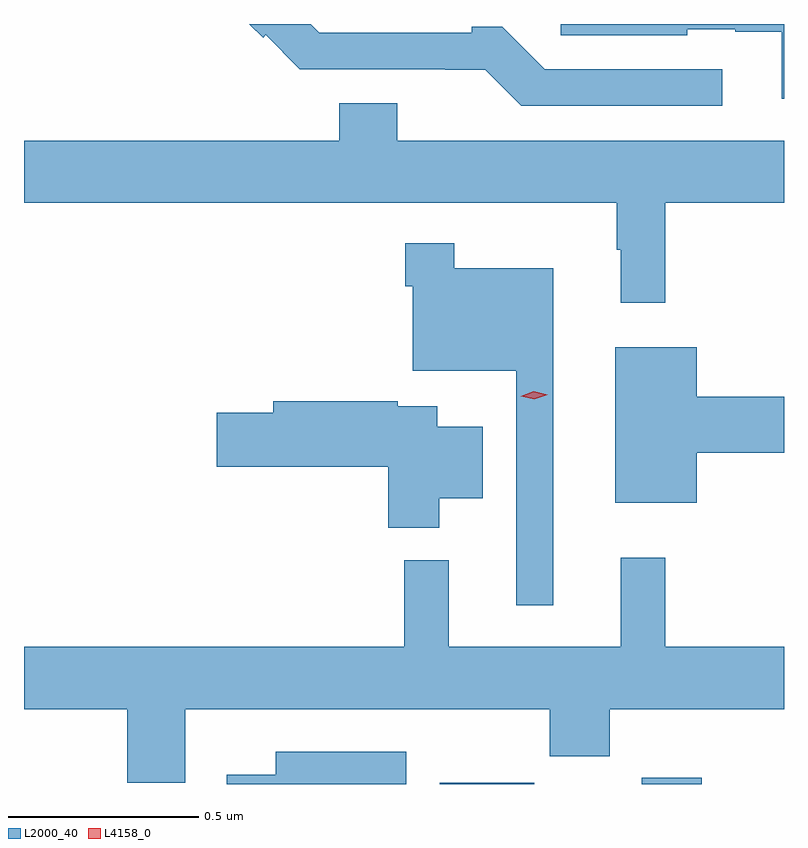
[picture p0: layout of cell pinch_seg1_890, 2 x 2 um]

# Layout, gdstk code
import gdstk
lib = gdstk.Library(unit=1e-6, precision=1e-09)
def R(c, l, rs):  # rectangles x0, y0, x1, y1
    for r in rs: c.add(gdstk.rectangle(r[:2], r[2:], *l))
def P(c, l, *ps):  # polygons
    for p in ps: c.add(gdstk.Polygon(p, *l))
L2000_40 = (2000, 40)
L4158_0 = (4158, 0)

pinch_seg1_890 = lib.new_cell('pinch_seg1_890')
R(pinch_seg1_890, L2000_40, [(432.323,536.883,432.572,536.886), (432.854,536.883,433.012,536.899)])
P(pinch_seg1_890, L2000_40, [(433.229,538.883),(432.641,538.883),(432.641,538.853),(432.975,538.853),(432.975,538.869),(433.101,538.869),(433.101,538.862),(433.223,538.862),(433.223,538.686),(433.229,538.686)],
  [(433.066,538.764),(432.6,538.764),(432.488,538.876),(432.407,538.876),(432.407,538.86),(432.006,538.86),(431.983,538.883),(431.822,538.883),(431.858,538.847),(431.865,538.855),(431.955,538.764),(432.338,538.764),(432.338,538.763),(432.443,538.763),(432.537,538.668),(433.066,538.668)],
  [(432.917,538.412),(433.229,538.412),(433.229,538.576),(432.211,538.576),(432.211,538.675),(432.059,538.675),(432.059,538.576),(431.229,538.576),(431.229,538.412),(432.789,538.412),(432.789,538.289),(432.8,538.289),(432.8,538.149),(432.917,538.149)],
  [(432.622,538.24),(432.361,538.24),(432.361,538.306),(432.232,538.306),(432.232,538.193),(432.252,538.193),(432.252,537.971),(432.525,537.971),(432.525,537.354),(432.622,537.354)],
  [(433,537.755),(433.229,537.755),(433.229,537.902),(433,537.902),(433,538.033),(432.785,538.033),(432.785,537.623),(433,537.623)],
  [(432.322,537.635),(432.436,537.635),(432.436,537.823),(432.316,537.823),(432.316,537.877),(432.212,537.877),(432.212,537.89),(431.885,537.89),(431.885,537.86),(431.736,537.86),(431.736,537.718),(432.188,537.718),(432.188,537.557),(432.322,537.557)],
  [(432.347,537.472),(432.229,537.472),(432.229,537.244),(431.229,537.244),(431.229,537.08),(431.501,537.08),(431.501,536.886),(431.653,536.886),(431.653,537.08),(432.613,537.08),(432.613,536.956),(432.77,536.956),(432.77,537.08),(433.229,537.08),(433.229,537.244),(432.917,537.244),(432.917,537.478),(432.8,537.478),(432.8,537.244),(432.347,537.244)],
  [(432.235,536.968),(431.891,536.968),(431.891,536.908),(431.762,536.908),(431.762,536.883),(432.235,536.883)])
P(pinch_seg1_890, L4158_0, [(432.572,537.896),(432.536,537.904),(432.535,537.904),(432.536,537.904),(432.571,537.916),(432.607,537.908),(432.607,537.908),(432.607,537.907)])

lib.write_gds('pinch_seg1_890.gds')
